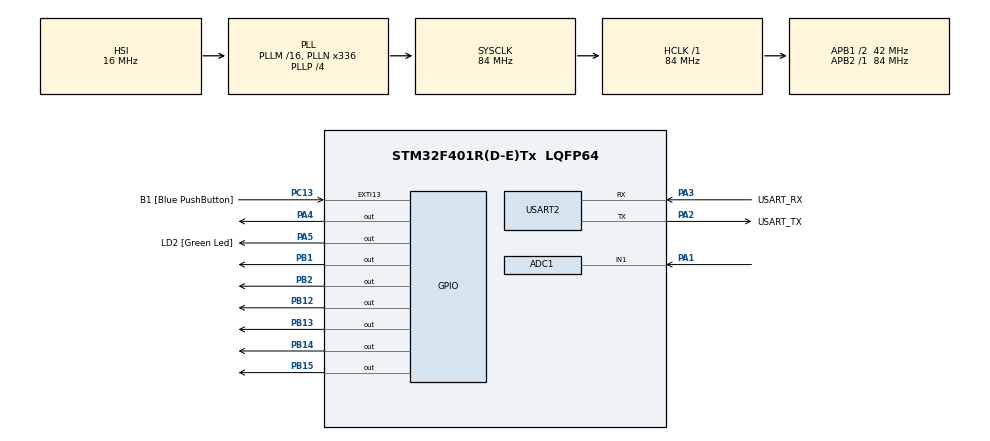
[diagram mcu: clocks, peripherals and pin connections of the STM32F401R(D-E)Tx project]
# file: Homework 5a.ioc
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ADC1.Channel-5\#ChannelRegularConversion=ADC_CHANNEL_1
ADC1.ExternalTrigConv=ADC_EXTERNALTRIGCONV_T2_TRGO
ADC1.NbrOfConversion=1
ADC1.NbrOfConversionFlag=1
ADC1.Rank-5\#ChannelRegularConversion=1
ADC1.SamplingTime-5\#ChannelRegularConversion=ADC_SAMPLETIME_480CYCLES
ADC1.master=1
Mcu.Family=STM32F4
Mcu.Name=STM32F401R(D-E)Tx
Mcu.Package=LQFP64
NVIC.ADC_IRQn=true\:0\:0\:false\:false\:true\:true\:true\:true
NVIC.PriorityGroup=NVIC_PRIORITYGROUP_0
NVIC.TIM2_IRQn=true\:0\:0\:false\:false\:true\:true\:true\:true
PA1.Signal=SharedAnalog_PA1
PA13.GPIO_Label=TMS
PA13.Mode=Serial_Wire
PA13.Signal=SYS_JTMS-SWDIO
PA14.GPIO_Label=TCK
PA14.Mode=Serial_Wire
PA14.Signal=SYS_JTCK-SWCLK
PA2.GPIO_Label=USART_TX
PA2.GPIO_Mode=GPIO_MODE_AF_PP
PA2.GPIO_PuPd=GPIO_NOPULL
PA2.GPIO_Speed=GPIO_SPEED_FREQ_LOW
PA2.Mode=Asynchronous
PA2.Signal=USART2_TX
PA3.GPIO_Label=USART_RX
PA3.GPIO_Mode=GPIO_MODE_AF_PP
PA3.GPIO_PuPd=GPIO_NOPULL
PA3.GPIO_Speed=GPIO_SPEED_FREQ_LOW
PA3.Mode=Asynchronous
PA3.Signal=USART2_RX
PA4.Signal=GPIO_Output
PA5.GPIO_Label=LD2 [Green Led]
PA5.GPIO_Mode=GPIO_MODE_OUTPUT_PP
PA5.GPIO_PuPd=GPIO_NOPULL
PA5.GPIO_Speed=GPIO_SPEED_FREQ_LOW
PA5.Signal=GPIO_Output
PB1.Signal=GPIO_Output
PB12.Signal=GPIO_Output
PB13.Signal=GPIO_Output
PB14.Signal=GPIO_Output
PB15.Signal=GPIO_Output
PB2.Signal=GPIO_Output
PB3.GPIO_Label=SWO
PB3.Signal=SYS_JTDO-SWO
PC13-ANTI_TAMP.GPIO_Label=B1 [Blue PushButton]
PC13-ANTI_TAMP.GPIO_ModeDefaultEXTI=GPIO_MODE_IT_FALLING
PC13-ANTI_TAMP.GPIO_PuPd=GPIO_NOPULL
PC13-ANTI_TAMP.Signal=GPXTI13
PC14-OSC32_IN.Mode=LSE-External-Oscillator
PC14-OSC32_IN.Signal=RCC_OSC32_IN
PC15-OSC32_OUT.Mode=LSE-External-Oscillator
PC15-OSC32_OUT.Signal=RCC_OSC32_OUT
PH0\ -\ OSC_IN.Mode=HSE-External-Clock-Source
PH0\ -\ OSC_IN.Signal=RCC_OSC_IN
PH1\ -\ OSC_OUT.Mode=HSE-External-Clock-Source
PH1\ -\ OSC_OUT.Signal=RCC_OSC_OUT
ProjectManager.HeapSize=0x200
ProjectManager.StackSize=0x400
ProjectManager.TargetToolchain=STM32CubeIDE
RCC.48MHZClocksFreq_Value=48000000
RCC.AHBFreq_Value=84000000
RCC.APB1CLKDivider=RCC_HCLK_DIV2
RCC.APB1Freq_Value=42000000
RCC.APB1TimFreq_Value=84000000
RCC.APB2Freq_Value=84000000
RCC.APB2TimFreq_Value=84000000
RCC.CortexFreq_Value=84000000
RCC.HCLKFreq_Value=84000000
RCC.HSE_VALUE=8000000
RCC.HSI_VALUE=16000000
RCC.PLLN=336
RCC.PLLP=RCC_PLLP_DIV4
RCC.PLLQ=7
RCC.SYSCLKFreq_VALUE=84000000
RCC.SYSCLKSource=RCC_SYSCLKSOURCE_PLLCLK
RCC.VCOOutputFreq_Value=336000000
SH.SharedAnalog_PA1.0=GPIO_Analog
SH.SharedAnalog_PA1.1=ADC1_IN1,IN1
TIM1.Channel-Output\ Compare1\ No\ Output=TIM_CHANNEL_1
TIM2.Period=84000 -1
TIM2.Prescaler=1000 -1
TIM2.TIM_MasterOutputTrigger=TIM_TRGO_UPDATE
USART2.VirtualMode=VM_ASYNC
VP_TIM1_VS_no_output1.Mode=Output Compare1 No Output
VP_TIM2_VS_ClockSourceINT.Mode=Internal
board=NUCLEO-F401RE

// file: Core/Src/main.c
/* USER CODE BEGIN Header */
/**
  ******************************************************************************
  * @file           : main.c
  * @brief          : Main program body
  ******************************************************************************
  * @attention
  *
  * Copyright (c) 2024 STMicroelectronics.
  * All rights reserved.
  *
  * This software is licensed under terms that can be found in the LICENSE file
  * in the root directory of this software component.
  * If no LICENSE file comes with this software, it is provided AS-IS.
  *
  ******************************************************************************
  */
/* USER CODE END Header */
#include "main.h"

/* USER CODE BEGIN Includes */
#include "PMDB16_LCD.h"
#include <string.h>
#include <math.h>

/* USER CODE END Includes */

ADC_HandleTypeDef hadc1;

TIM_HandleTypeDef htim1;
TIM_HandleTypeDef htim2;

UART_HandleTypeDef huart2;

void SystemClock_Config(void);
static void MX_GPIO_Init(void);
static void MX_USART2_UART_Init(void);
static void MX_ADC1_Init(void);
static void MX_TIM2_Init(void);
static void MX_TIM1_Init(void);

/* USER CODE BEGIN 0 */

int length = 8;
char bar_graph[] = {0};

void HAL_ADC_ConvCpltCallback(ADC_HandleTypeDef* hadc){
	char str[length];
		uint32_t value = HAL_ADC_GetValue(&hadc1);
		float voltage = 3.3f * value / 4096.0f;
		int value_bar = round(80.0f * value / 4096.0f);
		snprintf(str, length, "%.3f V", voltage);
		str[length] = '\0';
		lcd_clear();
		lcd_println(str, 0);
		lcd_drawBar(value_bar);
}

/* USER CODE END 0 */

int main(void)
{

  /* MCU Configuration--------------------------------------------------------*/

  /* Reset of all peripherals, Initializes the Flash interface and the Systick. */
  HAL_Init();

  /* Configure the system clock */
  SystemClock_Config();

  /* Initialize all configured peripherals */
  MX_GPIO_Init();
  MX_USART2_UART_Init();
  MX_ADC1_Init();
  MX_TIM2_Init();
  MX_TIM1_Init();
  /* USER CODE BEGIN 2 */
  HAL_TIM_Base_Start_IT(&htim2);
  HAL_ADC_Start_IT(&hadc1);
  lcd_initialize();
  lcd_backlight_ON();

  /* USER CODE END 2 */

  /* Infinite loop */
  while (1)
  {

    /* USER CODE BEGIN 3 */
  }
  HAL_ADC_Stop_IT(&hadc1);
  /* USER CODE END 3 */
}

void SystemClock_Config(void)
{
  RCC_OscInitTypeDef RCC_OscInitStruct = {0};
  RCC_ClkInitTypeDef RCC_ClkInitStruct = {0};

  /** Configure the main internal regulator output voltage
  */
  __HAL_RCC_PWR_CLK_ENABLE();
  __HAL_PWR_VOLTAGESCALING_CONFIG(PWR_REGULATOR_VOLTAGE_SCALE2);

  /** Initializes the RCC Oscillators according to the specified parameters
  * in the RCC_OscInitTypeDef structure.
  */
  RCC_OscInitStruct.OscillatorType = RCC_OSCILLATORTYPE_HSI;
  RCC_OscInitStruct.HSIState = RCC_HSI_ON;
  RCC_OscInitStruct.HSICalibrationValue = RCC_HSICALIBRATION_DEFAULT;
  RCC_OscInitStruct.PLL.PLLState = RCC_PLL_ON;
  RCC_OscInitStruct.PLL.PLLSource = RCC_PLLSOURCE_HSI;
  RCC_OscInitStruct.PLL.PLLM = 16;
  RCC_OscInitStruct.PLL.PLLN = 336;
  RCC_OscInitStruct.PLL.PLLP = RCC_PLLP_DIV4;
  RCC_OscInitStruct.PLL.PLLQ = 7;
  if (HAL_RCC_OscConfig(&RCC_OscInitStruct) != HAL_OK)
  {
    Error_Handler();
  }

  /** Initializes the CPU, AHB and APB buses clocks
  */
  RCC_ClkInitStruct.ClockType = RCC_CLOCKTYPE_HCLK|RCC_CLOCKTYPE_SYSCLK
                              |RCC_CLOCKTYPE_PCLK1|RCC_CLOCKTYPE_PCLK2;
  RCC_ClkInitStruct.SYSCLKSource = RCC_SYSCLKSOURCE_PLLCLK;
  RCC_ClkInitStruct.AHBCLKDivider = RCC_SYSCLK_DIV1;
  RCC_ClkInitStruct.APB1CLKDivider = RCC_HCLK_DIV2;
  RCC_ClkInitStruct.APB2CLKDivider = RCC_HCLK_DIV1;

  if (HAL_RCC_ClockConfig(&RCC_ClkInitStruct, FLASH_LATENCY_2) != HAL_OK)
  {
    Error_Handler();
  }
}

static void MX_ADC1_Init(void)
{

  ADC_ChannelConfTypeDef sConfig = {0};

  /** Configure the global features of the ADC (Clock, Resolution, Data Alignment and number of conversion)
  */
  hadc1.Instance = ADC1;
  hadc1.Init.ClockPrescaler = ADC_CLOCK_SYNC_PCLK_DIV4;
  hadc1.Init.Resolution = ADC_RESOLUTION_12B;
  hadc1.Init.ScanConvMode = DISABLE;
  hadc1.Init.ContinuousConvMode = DISABLE;
  hadc1.Init.DiscontinuousConvMode = DISABLE;
  hadc1.Init.ExternalTrigConvEdge = ADC_EXTERNALTRIGCONVEDGE_RISING;
  hadc1.Init.ExternalTrigConv = ADC_EXTERNALTRIGCONV_T2_TRGO;
  hadc1.Init.DataAlign = ADC_DATAALIGN_RIGHT;
  hadc1.Init.NbrOfConversion = 1;
  hadc1.Init.DMAContinuousRequests = DISABLE;
  hadc1.Init.EOCSelection = ADC_EOC_SINGLE_CONV;
  if (HAL_ADC_Init(&hadc1) != HAL_OK)
  {
    Error_Handler();
  }

  /** Configure for the selected ADC regular channel its corresponding rank in the sequencer and its sample time.
  */
  sConfig.Channel = ADC_CHANNEL_1;
  sConfig.Rank = 1;
  sConfig.SamplingTime = ADC_SAMPLETIME_480CYCLES;
  if (HAL_ADC_ConfigChannel(&hadc1, &sConfig) != HAL_OK)
  {
    Error_Handler();
  }

}

static void MX_TIM1_Init(void)
{

  TIM_MasterConfigTypeDef sMasterConfig = {0};
  TIM_OC_InitTypeDef sConfigOC = {0};
  TIM_BreakDeadTimeConfigTypeDef sBreakDeadTimeConfig = {0};

  htim1.Instance = TIM1;
  htim1.Init.Prescaler = 0;
  htim1.Init.CounterMode = TIM_COUNTERMODE_UP;
  htim1.Init.Period = 65535;
  htim1.Init.ClockDivision = TIM_CLOCKDIVISION_DIV1;
  htim1.Init.RepetitionCounter = 0;
  htim1.Init.AutoReloadPreload = TIM_AUTORELOAD_PRELOAD_DISABLE;
  if (HAL_TIM_OC_Init(&htim1) != HAL_OK)
  {
    Error_Handler();
  }
  sMasterConfig.MasterOutputTrigger = TIM_TRGO_RESET;
  sMasterConfig.MasterSlaveMode = TIM_MASTERSLAVEMODE_DISABLE;
  if (HAL_TIMEx_MasterConfigSynchronization(&htim1, &sMasterConfig) != HAL_OK)
  {
    Error_Handler();
  }
  sConfigOC.OCMode = TIM_OCMODE_TIMING;
  sConfigOC.Pulse = 0;
  sConfigOC.OCPolarity = TIM_OCPOLARITY_HIGH;
  sConfigOC.OCNPolarity = TIM_OCNPOLARITY_HIGH;
  sConfigOC.OCFastMode = TIM_OCFAST_DISABLE;
  sConfigOC.OCIdleState = TIM_OCIDLESTATE_RESET;
  sConfigOC.OCNIdleState = TIM_OCNIDLESTATE_RESET;
  if (HAL_TIM_OC_ConfigChannel(&htim1, &sConfigOC, TIM_CHANNEL_1) != HAL_OK)
  {
    Error_Handler();
  }
  sBreakDeadTimeConfig.OffStateRunMode = TIM_OSSR_DISABLE;
  sBreakDeadTimeConfig.OffStateIDLEMode = TIM_OSSI_DISABLE;
  sBreakDeadTimeConfig.LockLevel = TIM_LOCKLEVEL_OFF;
  sBreakDeadTimeConfig.DeadTime = 0;
  sBreakDeadTimeConfig.BreakState = TIM_BREAK_DISABLE;
  sBreakDeadTimeConfig.BreakPolarity = TIM_BREAKPOLARITY_HIGH;
  sBreakDeadTimeConfig.AutomaticOutput = TIM_AUTOMATICOUTPUT_DISABLE;
  if (HAL_TIMEx_ConfigBreakDeadTime(&htim1, &sBreakDeadTimeConfig) != HAL_OK)
  {
    Error_Handler();
  }

}

static void MX_TIM2_Init(void)
{

  TIM_ClockConfigTypeDef sClockSourceConfig = {0};
  TIM_MasterConfigTypeDef sMasterConfig = {0};

  htim2.Instance = TIM2;
  htim2.Init.Prescaler = 1000 -1;
  htim2.Init.CounterMode = TIM_COUNTERMODE_UP;
  htim2.Init.Period = 84000 -1;
  htim2.Init.ClockDivision = TIM_CLOCKDIVISION_DIV1;
  htim2.Init.AutoReloadPreload = TIM_AUTORELOAD_PRELOAD_DISABLE;
  if (HAL_TIM_Base_Init(&htim2) != HAL_OK)
  {
    Error_Handler();
  }
  sClockSourceConfig.ClockSource = TIM_CLOCKSOURCE_INTERNAL;
  if (HAL_TIM_ConfigClockSource(&htim2, &sClockSourceConfig) != HAL_OK)
  {
    Error_Handler();
  }
  sMasterConfig.MasterOutputTrigger = TIM_TRGO_UPDATE;
  sMasterConfig.MasterSlaveMode = TIM_MASTERSLAVEMODE_DISABLE;
  if (HAL_TIMEx_MasterConfigSynchronization(&htim2, &sMasterConfig) != HAL_OK)
  {
    Error_Handler();
  }

}

static void MX_USART2_UART_Init(void)
{

  huart2.Instance = USART2;
  huart2.Init.BaudRate = 115200;
  huart2.Init.WordLength = UART_WORDLENGTH_8B;
  huart2.Init.StopBits = UART_STOPBITS_1;
  huart2.Init.Parity = UART_PARITY_NONE;
  huart2.Init.Mode = UART_MODE_TX_RX;
  huart2.Init.HwFlowCtl = UART_HWCONTROL_NONE;
  huart2.Init.OverSampling = UART_OVERSAMPLING_16;
  if (HAL_UART_Init(&huart2) != HAL_OK)
  {
    Error_Handler();
  }

}

static void MX_GPIO_Init(void)
{
  GPIO_InitTypeDef GPIO_InitStruct = {0};

  /* GPIO Ports Clock Enable */
  __HAL_RCC_GPIOC_CLK_ENABLE();
  __HAL_RCC_GPIOH_CLK_ENABLE();
  __HAL_RCC_GPIOA_CLK_ENABLE();
  __HAL_RCC_GPIOB_CLK_ENABLE();

  /*Configure GPIO pin Output Level */
  HAL_GPIO_WritePin(GPIOA, GPIO_PIN_4|LD2_Pin, GPIO_PIN_RESET);

  /*Configure GPIO pin Output Level */
  HAL_GPIO_WritePin(GPIOB, GPIO_PIN_1|GPIO_PIN_2|GPIO_PIN_12|GPIO_PIN_13
                          |GPIO_PIN_14|GPIO_PIN_15, GPIO_PIN_RESET);

  /*Configure GPIO pin : B1_Pin */
  GPIO_InitStruct.Pin = B1_Pin;
  GPIO_InitStruct.Mode = GPIO_MODE_IT_FALLING;
  GPIO_InitStruct.Pull = GPIO_NOPULL;
  HAL_GPIO_Init(B1_GPIO_Port, &GPIO_InitStruct);

  /*Configure GPIO pins : PA4 LD2_Pin */
  GPIO_InitStruct.Pin = GPIO_PIN_4|LD2_Pin;
  GPIO_InitStruct.Mode = GPIO_MODE_OUTPUT_PP;
  GPIO_InitStruct.Pull = GPIO_NOPULL;
  GPIO_InitStruct.Speed = GPIO_SPEED_FREQ_LOW;
  HAL_GPIO_Init(GPIOA, &GPIO_InitStruct);

  /*Configure GPIO pins : PB1 PB2 PB12 PB13
                           PB14 PB15 */
  GPIO_InitStruct.Pin = GPIO_PIN_1|GPIO_PIN_2|GPIO_PIN_12|GPIO_PIN_13
                          |GPIO_PIN_14|GPIO_PIN_15;
  GPIO_InitStruct.Mode = GPIO_MODE_OUTPUT_PP;
  GPIO_InitStruct.Pull = GPIO_NOPULL;
  GPIO_InitStruct.Speed = GPIO_SPEED_FREQ_LOW;
  HAL_GPIO_Init(GPIOB, &GPIO_InitStruct);

}

void Error_Handler(void)
{
  __disable_irq();
  while (1)
  {
  }
}
